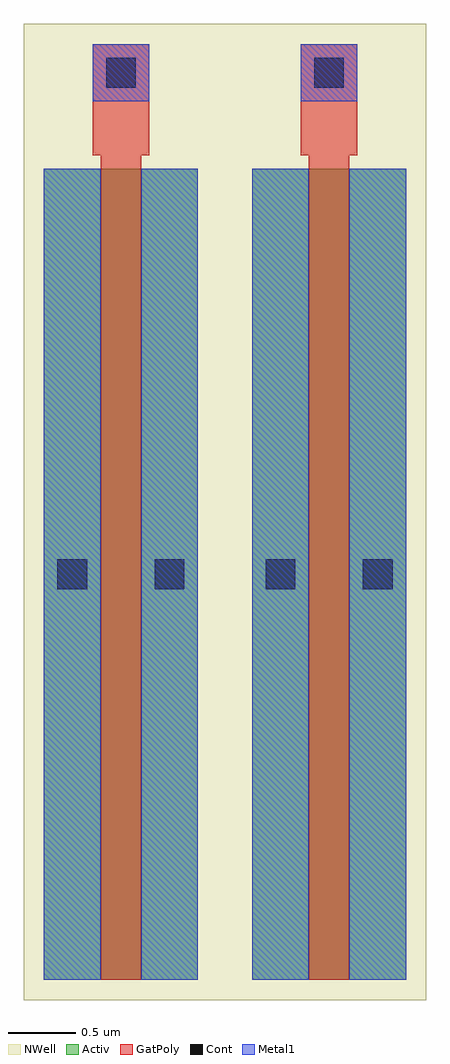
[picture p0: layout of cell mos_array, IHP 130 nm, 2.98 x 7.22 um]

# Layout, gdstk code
import gdstk
lib = gdstk.Library(unit=1e-6, precision=1e-09)
def R(c, l, rs):  # rectangles x0, y0, x1, y1
    for r in rs: c.add(gdstk.rectangle(r[:2], r[2:], *l))
Activ = (1, 0)
GatPoly = (5, 0)
Cont = (6, 0)
Metal1 = (8, 0)
NWell = (31, 0)

mos_array = lib.new_cell('mos_array')
R(mos_array, Activ, [(0,0,1.14,6), (1.54,0,2.68,6)])
R(mos_array, GatPoly, [(0.42,0,0.72,6), (1.96,0,2.26,6), (0.42,6,0.72,6.1), (1.96,6,2.26,6.1), (0.36,6.1,0.78,6.92), (1.9,6.1,2.32,6.92)])
R(mos_array, Cont, [(0.1,2.89,0.32,3.11), (0.82,2.89,1.04,3.11), (1.64,2.89,1.86,3.11), (2.36,2.89,2.58,3.11), (0.46,6.6,0.68,6.82), (2,6.6,2.22,6.82)])
R(mos_array, Metal1, [(0,0,0.42,6), (0.72,0,1.14,6), (1.54,0,1.96,6), (2.26,0,2.68,6), (0.36,6.5,0.78,6.92), (1.9,6.5,2.32,6.92)])
R(mos_array, NWell, [(-0.15,-0.15,2.83,7.07)])

lib.write_gds('mos_array.gds')
